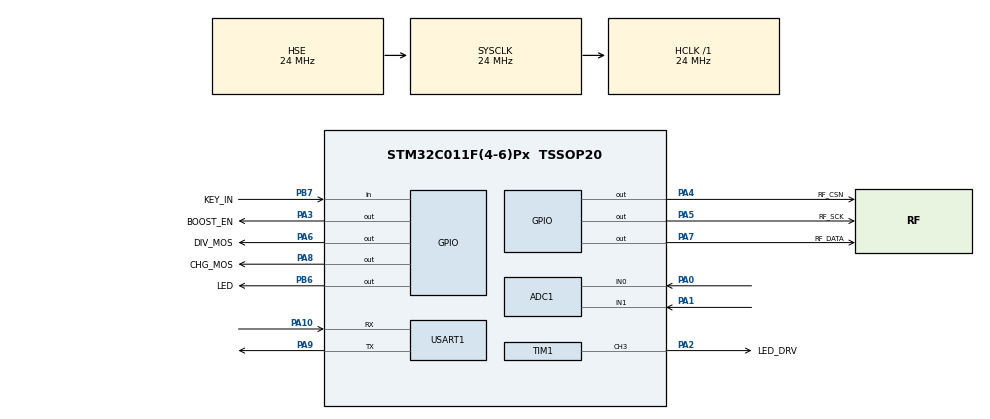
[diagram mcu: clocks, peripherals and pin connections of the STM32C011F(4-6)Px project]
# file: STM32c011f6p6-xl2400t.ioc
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ADC1.NbrOfConversionFlag=0
ADC1.SamplingTimeCommon1=ADC_SAMPLETIME_160CYCLES_5
ADC1.SelectedChannel=ADC_CHANNEL_0|ADC_CHANNEL_1
ADC1.master=1
Mcu.Family=STM32C0
Mcu.Name=STM32C011F(4-6)Px
Mcu.Package=TSSOP20
NVIC.RTC_IRQn=true\:0\:0\:false\:false\:true\:true\:true\:true
PA0.Mode=IN0
PA0.Signal=ADC1_IN0
PA1.Mode=IN1
PA1.Signal=ADC1_IN1
PA10\ [PA12].Mode=Asynchronous
PA10\ [PA12].Signal=USART1_RX
PA13.Mode=Serial_Wire
PA13.Signal=DEBUG_SWDIO
PA14-BOOT0.Mode=Serial_Wire
PA14-BOOT0.Signal=DEBUG_SWCLK
PA2.GPIO_Label=LED_DRV
PA2.Signal=S_TIM1_CH3
PA3.GPIO_Label=BOOST_EN
PA3.Signal=GPIO_Output
PA4.GPIO_Label=RF_CSN
PA4.Signal=GPIO_Output
PA5.GPIO_Label=RF_SCK
PA5.Signal=GPIO_Output
PA6.GPIO_Label=DIV_MOS
PA6.Signal=GPIO_Output
PA7.GPIO_Label=RF_DATA
PA7.Signal=GPIO_Output
PA8.GPIO_Label=CHG_MOS
PA8.Signal=GPIO_Output
PA9\ [PA11].Mode=Asynchronous
PA9\ [PA11].Signal=USART1_TX
PB6.GPIO_Label=LED
PB6.Signal=GPIO_Output
PB7.GPIO_Label=KEY_IN
PB7.GPIO_PuPd=GPIO_PULLUP
PB7.Signal=GPIO_Input
PC14-OSCX_IN\ (PC14).Mode=HSE-External-Oscillator-REMAPPED
PC14-OSCX_IN\ (PC14).Signal=RCC_OSCX_IN
PC15-OSCX_OUT\ (PC15).Mode=HSE-External-Oscillator-REMAPPED
PC15-OSCX_OUT\ (PC15).Signal=RCC_OSCX_OUT
ProjectManager.HeapSize=0x200
ProjectManager.StackSize=0x400
ProjectManager.TargetToolchain=MDK-ARM V5
RCC.ADCCLockSelection=RCC_ADCCLKSOURCE_HSIKER
RCC.ADCFreq_Value=12000000
RCC.AHBFreq_Value=24000000
RCC.CortexFreq_Value=24000000
RCC.EXTERNAL_CLOCK_VALUE=12288000
RCC.HCLKFreq_Value=24000000
RCC.HSE_VALUE=24000000
RCC.HSIKERCLKDivider=RCC_HSIKER_DIV4
RCC.HSI_VALUE=48000000
RCC.LSE_VALUE=32768
RCC.SYSCLKFreq_VALUE=24000000
RCC.SYSCLKSource=RCC_SYSCLKSOURCE_HSE
RTC.Alarm-Alarm\ A=RTC_ALARM_A
RTC.AlarmMaskDateWeekDay-Alarm\ A=RTC_ALARMMASK_DATEWEEKDAY
RTC.AlarmMaskHours-Alarm\ A=RTC_ALARMMASK_HOURS
RTC.AlarmMaskMinutes-Alarm\ A=RTC_ALARMMASK_MINUTES
RTC.Seconds=3
RTC.Seconds_A-Alarm\ A=3
SH.S_TIM1_CH3.0=TIM1_CH3,PWM Generation3 CH3
TIM1.AutoReloadPreload=TIM_AUTORELOAD_PRELOAD_ENABLE
TIM1.Channel-PWM\ Generation3\ CH3=TIM_CHANNEL_3
TIM1.OCFastMode_PWM-PWM\ Generation3\ CH3=TIM_OCFAST_ENABLE
TIM1.Period=192
TIM1.Pulse-PWM\ Generation3\ CH3=115
USART1.VirtualMode-Asynchronous=VM_ASYNC
VP_RTC_VS_RTC_Activate.Mode=RTC_Enabled
VP_RTC_VS_RTC_Alarm_A_Intern.Mode=Alarm A
VP_RTC_VS_RTC_Calendar.Mode=RTC_Calendar
VP_SYS_VS_PINREMAP.Mode=PINREMAP
VP_SYS_VS_PINREMAP_10_12.Mode=PINREMAP_10_12
board=custom

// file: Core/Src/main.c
/* USER CODE BEGIN Header */
/**
  ******************************************************************************
  * @file           : main.c
  * @brief          : Main program body
  ******************************************************************************
  * @attention
  *
  * Copyright (c) 2026 STMicroelectronics.
  * All rights reserved.
  *
  * This software is licensed under terms that can be found in the LICENSE file
  * in the root directory of this software component.
  * If no LICENSE file comes with this software, it is provided AS-IS.
  *
  ******************************************************************************
  */
/* USER CODE END Header */
#include "main.h"

ADC_HandleTypeDef hadc1;

RTC_HandleTypeDef hrtc;

TIM_HandleTypeDef htim1;

UART_HandleTypeDef huart1;

void SystemClock_Config(void);
void PeriphCommonClock_Config(void);
static void MX_GPIO_Init(void);
static void MX_ADC1_Init(void);
static void MX_TIM1_Init(void);
static void MX_USART1_UART_Init(void);
static void MX_RTC_Init(void);

/* USER CODE BEGIN 0 */
/* 固件调试串口打印：所有文本均通过 USART1 输出 */
static void UART_Print(const char *s)
{
  uint32_t len = 0U;
  const char *p = s;
  while (p != 0 && *p != '\0')
  {
    len++;
    p++;
  }

  if (len > 0U)
  {
    (void)HAL_UART_Transmit(&huart1, (uint8_t *)s, (uint16_t)len, 100U);
  }
}

void DebugPrint(const char *s)
{
#if (ENABLE_UART_DEBUG == 1)
  UART_Print(s);
#else
  (void)s;
#endif
}

/* RTC 闹钟触发计数器：由 RTC 中断回调递增，主循环在唤醒/处理时逐个消费
 * 说明：使用计数器避免“采样/串口输出期间闹钟又触发，但被主循环清零丢失”的问题。
 */
static volatile uint32_t g_rtc_wakeup_cnt = 0U;

/**
  * @brief RTC Alarm A 回调函数
  * @note 只做唤醒标志置位，避免在中断上下文里做复杂 HAL 操作
  */
void HAL_RTC_AlarmAEventCallback(RTC_HandleTypeDef *hrtc)
{
  UNUSED(hrtc);
  g_rtc_wakeup_cnt++;
}

/* 前置声明：RTC 设置函数里会先调用 DebugPrintU32，避免隐式声明导致 static 冲突 */
static void DebugPrintU32(uint32_t v);

/**
  * @brief  重新设置 RTC Alarm A：下一次触发秒 = 当前秒 + 3
  * @note   该函数在主循环上下文执行（非中断），避免 HAL_GetTick 相关超时风险
  */
static HAL_StatusTypeDef RTC_SetNextAlarmA_3s(RTC_HandleTypeDef *hrtc)
{
  RTC_TimeTypeDef rtcTime = {0};
  RTC_DateTypeDef rtcDate = {0};
  RTC_AlarmTypeDef sAlarm = {0};
  uint8_t currSec = 0U;
  uint8_t nextSec = 0U;
  uint8_t newSec = 0U;

  /* 从低功耗/唤醒环境读取 RTC 时必须同步，且读取时间后要读取日期解锁影子寄存器 */
  if (HAL_RTC_WaitForSynchro(hrtc) != HAL_OK)
  {
    return HAL_ERROR;
  }

  if (HAL_RTC_GetTime(hrtc, &rtcTime, RTC_FORMAT_BIN) != HAL_OK)
  {
    return HAL_ERROR;
  }
  (void)HAL_RTC_GetDate(hrtc, &rtcDate, RTC_FORMAT_BIN);

  currSec = rtcTime.Seconds;

  /* 等到 seconds 刷新（避免刚好错过目标秒窗口） */
  newSec = currSec;
  {
    uint32_t tickStart = HAL_GetTick();
    while ((newSec == currSec) && ((HAL_GetTick() - tickStart) < 200U))
    {
      if (HAL_RTC_GetTime(hrtc, &rtcTime, RTC_FORMAT_BIN) != HAL_OK)
      {
        break;
      }
      (void)HAL_RTC_GetDate(hrtc, &rtcDate, RTC_FORMAT_BIN);
      newSec = rtcTime.Seconds;
    }
  }

  sAlarm.Alarm = RTC_ALARM_A;
  sAlarm.AlarmTime.Hours = 0U;
  sAlarm.AlarmTime.Minutes = 0U;
  nextSec = (uint8_t)((newSec + 3U) % 60U);
  sAlarm.AlarmTime.Seconds = nextSec;
  sAlarm.AlarmTime.SubSeconds = 0U;
  sAlarm.AlarmTime.DayLightSaving = RTC_DAYLIGHTSAVING_NONE;
  sAlarm.AlarmTime.StoreOperation = RTC_STOREOPERATION_RESET;

  /* 只匹配 Seconds：屏蔽 Date/WeekDay、Hours、Minutes */
  sAlarm.AlarmMask = RTC_ALARMMASK_DATEWEEKDAY | RTC_ALARMMASK_HOURS | RTC_ALARMMASK_MINUTES;
  sAlarm.AlarmSubSecondMask = RTC_ALARMSUBSECONDMASK_ALL;

  sAlarm.AlarmDateWeekDaySel = RTC_ALARMDATEWEEKDAYSEL_DATE;
  sAlarm.AlarmDateWeekDay = 0x1U;

  /* 调试输出：便于确认 seconds 对齐是否正确 */
#if (ENABLE_UART_DEBUG == 1)
  DebugPrint("\r\n[RTC] currSec=");
  DebugPrintU32((uint32_t)currSec);
  DebugPrint(" nextSec=");
  DebugPrintU32((uint32_t)nextSec);
  DebugPrint("\r\n");
#endif

  return HAL_RTC_SetAlarm_IT(hrtc, &sAlarm, RTC_FORMAT_BIN);
}

/* 打印无符号十进制数到 UART（不依赖 printf，便于控制代码体积） */
static void UART_PrintU32(uint32_t v)
{
  char buf[11];
  uint32_t len = 0U;

  if (v == 0U)
  {
    buf[len++] = '0';
  }
  else
  {
    while (v > 0U && len < (sizeof(buf) - 1U))
    {
      buf[len++] = (char)('0' + (v % 10U));
      v /= 10U;
    }
  }

  /* 反向输出数字 */
  while (len > 0U)
  {
    uint8_t ch = (uint8_t)buf[len - 1U];
    (void)HAL_UART_Transmit(&huart1, &ch, 1U, 100U);
    len--;
  }
}

static void DebugPrintU32(uint32_t v)
{
#if (ENABLE_UART_DEBUG == 1)
  UART_PrintU32(v);
#else
  (void)v;
#endif
}

/**
  * @brief 采样 PA0/PA1：每次触发扫描序列，读取通道0/通道1各1次
  *        重复16次后对每个通道求平均。
  */
static void ADC_ReadAvgPa0Pa1_16x(uint16_t *avgPa0, uint16_t *avgPa1)
{
  uint32_t sum0 = 0U;
  uint32_t sum1 = 0U;
  uint32_t i = 0U;

  for (i = 0U; i < 16U; i++)
  {
    if (HAL_ADC_Start(&hadc1) != HAL_OK)
    {
      Error_Handler();
    }

    /* 第一次 EOC：PA0(ADC1_IN0) */
    if (HAL_ADC_PollForConversion(&hadc1, 10U) != HAL_OK)
    {
      Error_Handler();
    }
    uint16_t v0 = (uint16_t)HAL_ADC_GetValue(&hadc1);

    /* 第二次 EOC：PA1(ADC1_IN1) */
    if (HAL_ADC_PollForConversion(&hadc1, 10U) != HAL_OK)
    {
      Error_Handler();
    }
    uint16_t v1 = (uint16_t)HAL_ADC_GetValue(&hadc1);

    (void)HAL_ADC_Stop(&hadc1);

    sum0 += (uint32_t)v0;
    sum1 += (uint32_t)v1;
  }

  *avgPa0 = (uint16_t)(sum0 / 16U);
  *avgPa1 = (uint16_t)(sum1 / 16U);
}

/**
  * @brief 进入 STOP 前的功耗处理
  * @note 低风险策略：本测试中保留 CubeMX 的 RF/控制脚默认状态；仅对 ADC/USART 做去初始化与模拟模式配置。
  */
static void Power_PrepareForStop(void)
{
  GPIO_InitTypeDef GPIO_InitStruct = {0};

  /* 关闭 ADC 外设以降低功耗（PA0/PA1 重新置为 Analog 防止悬空漏电） */
  (void)HAL_ADC_Stop(&hadc1);
  (void)HAL_ADC_DeInit(&hadc1);
  GPIO_InitStruct.Pin = (GPIO_PIN_0 | GPIO_PIN_1);
  GPIO_InitStruct.Mode = GPIO_MODE_ANALOG;
  GPIO_InitStruct.Pull = GPIO_NOPULL;
  HAL_GPIO_Init(GPIOA, &GPIO_InitStruct);

#if (ENABLE_UART_DEBUG == 0)
  /* 调试关闭时：关闭 USART1 并把 TX/RX 引脚置为 Analog 进一步降低漏电 */
  (void)HAL_UART_DeInit(&huart1);
  __HAL_RCC_USART1_CLK_DISABLE();
  GPIO_InitStruct.Pin = (GPIO_PIN_9 | GPIO_PIN_10);
  GPIO_InitStruct.Mode = GPIO_MODE_ANALOG;
  GPIO_InitStruct.Pull = GPIO_NOPULL;
  HAL_GPIO_Init(GPIOA, &GPIO_InitStruct);
#endif
}

/* USER CODE END 0 */

int main(void)
{

  /* MCU Configuration--------------------------------------------------------*/

  /* Reset of all peripherals, Initializes the Flash interface and the Systick. */
  HAL_Init();

  /* Configure the system clock */
  SystemClock_Config();

  /* Configure the peripherals common clocks */
  PeriphCommonClock_Config();

  /* Initialize all configured peripherals */
  MX_GPIO_Init();
  MX_ADC1_Init();
  MX_TIM1_Init();
  MX_USART1_UART_Init();
  MX_RTC_Init();
  /* USER CODE BEGIN 2 */
  /* 上电打印固件版本号：用于区分当前烧录的测试固件 */
  UART_Print("\r\n[FW] " FW_VERSION "\r\n");

  /* 使能 STOP 模式下的 Debug：避免出现你说的 SWD/RJTAG 锁死、无法下载 */
  HAL_DBGMCU_EnableDBGStopMode();
  /* USER CODE END 2 */

  /* Infinite loop */
  /* USER CODE BEGIN WHILE */
  while (1)
  {
    /* 如果没有待处理的 RTC 唤醒事件，才进入 STOP */
    if (g_rtc_wakeup_cnt == 0U)
    {
      DebugPrint("\r\n[LP-IN]\r\n");

      /* 进入 STOP 之前进行功耗准备（关闭 ADC/可选关闭 UART） */
      Power_PrepareForStop();

      /* 进入 STOP 前暂停 SysTick，避免 Tick 在低功耗状态下异常 */
      HAL_SuspendTick();

      /* 等待中断：由 RTC Alarm A 唤醒 */
      #if (LOWPOWER_USE_STOP == 1)
      HAL_PWR_EnterSTOPMode(PWR_MAINREGULATOR_ON, PWR_STOPENTRY_WFI);
      /* 唤醒后恢复时钟树与 SysTick（STOP 需要） */
      SystemClock_Config();
      PeriphCommonClock_Config();
      DebugPrint("\r\n[LP-RET-STOP]\r\n");
      #else
      HAL_PWR_EnterSLEEPMode(PWR_MAINREGULATOR_ON, PWR_SLEEPENTRY_WFI);
      DebugPrint("\r\n[LP-RET-SLEEP]\r\n");
      #endif
      HAL_ResumeTick();

      /* 从低功耗返回后打印（用于确认唤醒是否发生、计数是否递增） */
      DebugPrint("\r\n[LP-RET] cnt=");
      DebugPrintU32(g_rtc_wakeup_cnt);
      DebugPrint("\r\n");
    }

    /* 消费可能累积的唤醒事件（避免丢事件导致周期变成约 60s） */
    while (g_rtc_wakeup_cnt > 0U)
    {
      g_rtc_wakeup_cnt--;

      /* 重设下一次闹钟：当前秒 + 3s */
      if (RTC_SetNextAlarmA_3s(&hrtc) == HAL_OK)
      {
        /* 最小验证输出：确认唤醒链路通，并维持下一次 3s 周期 */
        DebugPrint("\r\n[WAKE+RTC]\r\n");
      }

      /* 唤醒后执行 ADC 采样与电压换算 */
      uint16_t adc0_avg = 0U;
      uint16_t adc1_avg = 0U;

      /* 每次事件处理都重新初始化 ADC，确保在 STOP 前去初始化后恢复正常 */
      MX_ADC1_Init();
      ADC_ReadAvgPa0Pa1_16x(&adc0_avg, &adc1_avg);

      /* V(mV) = adc_avg * 3300 / 4095（Vref=3.3V，12bit） */
      uint32_t v0_mV = (uint32_t)(((uint64_t)adc0_avg * 3300ULL) / 4095ULL);
      uint32_t v1_mV = (uint32_t)(((uint64_t)adc1_avg * 3300ULL) / 4095ULL);

      DebugPrint("\r\n[ADC]");
      DebugPrint(" PA0=");
      DebugPrintU32(v0_mV);
      DebugPrint("mV");
      DebugPrint(" PA1=");
      DebugPrintU32(v1_mV);
      DebugPrint("mV\r\n");
    }
    /* USER CODE END WHILE */

  }
}

void SystemClock_Config(void)
{
  RCC_OscInitTypeDef RCC_OscInitStruct = {0};
  RCC_ClkInitTypeDef RCC_ClkInitStruct = {0};

  __HAL_FLASH_SET_LATENCY(FLASH_LATENCY_0);

  /** Initializes the RCC Oscillators according to the specified parameters
  * in the RCC_OscInitTypeDef structure.
  */
  RCC_OscInitStruct.OscillatorType = RCC_OSCILLATORTYPE_HSI|RCC_OSCILLATORTYPE_LSI
                              |RCC_OSCILLATORTYPE_HSE;
  RCC_OscInitStruct.HSEState = RCC_HSE_ON;
  RCC_OscInitStruct.HSIState = RCC_HSI_ON;
  RCC_OscInitStruct.HSIDiv = RCC_HSI_DIV4;
  RCC_OscInitStruct.HSICalibrationValue = RCC_HSICALIBRATION_DEFAULT;
  RCC_OscInitStruct.LSIState = RCC_LSI_ON;
  if (HAL_RCC_OscConfig(&RCC_OscInitStruct) != HAL_OK)
  {
    Error_Handler();
  }

  /** Initializes the CPU, AHB and APB buses clocks
  */
  RCC_ClkInitStruct.ClockType = RCC_CLOCKTYPE_HCLK|RCC_CLOCKTYPE_SYSCLK
                              |RCC_CLOCKTYPE_PCLK1;
  RCC_ClkInitStruct.SYSCLKSource = RCC_SYSCLKSOURCE_HSE;
  RCC_ClkInitStruct.SYSCLKDivider = RCC_SYSCLK_DIV1;
  RCC_ClkInitStruct.AHBCLKDivider = RCC_HCLK_DIV1;
  RCC_ClkInitStruct.APB1CLKDivider = RCC_APB1_DIV1;

  if (HAL_RCC_ClockConfig(&RCC_ClkInitStruct, FLASH_LATENCY_0) != HAL_OK)
  {
    Error_Handler();
  }
}

void PeriphCommonClock_Config(void)
{
  RCC_PeriphCLKInitTypeDef PeriphClkInit = {0};

  /** Initializes the common peripherals clocks
  */
  PeriphClkInit.PeriphClockSelection = RCC_PERIPHCLK_HSIKER;
  PeriphClkInit.HSIKerClockDivider = RCC_HSIKER_DIV4;

  if (HAL_RCCEx_PeriphCLKConfig(&PeriphClkInit) != HAL_OK)
  {
    Error_Handler();
  }
}

static void MX_ADC1_Init(void)
{

  ADC_ChannelConfTypeDef sConfig = {0};

  /** Configure the global features of the ADC (Clock, Resolution, Data Alignment and number of conversion)
  */
  hadc1.Instance = ADC1;
  hadc1.Init.ClockPrescaler = ADC_CLOCK_SYNC_PCLK_DIV1;
  hadc1.Init.Resolution = ADC_RESOLUTION_12B;
  hadc1.Init.DataAlign = ADC_DATAALIGN_RIGHT;
  hadc1.Init.ScanConvMode = ADC_SCAN_SEQ_FIXED;
  hadc1.Init.EOCSelection = ADC_EOC_SINGLE_CONV;
  hadc1.Init.LowPowerAutoWait = DISABLE;
  hadc1.Init.LowPowerAutoPowerOff = DISABLE;
  hadc1.Init.ContinuousConvMode = DISABLE;
  hadc1.Init.NbrOfConversion = 2;
  hadc1.Init.DiscontinuousConvMode = DISABLE;
  hadc1.Init.ExternalTrigConv = ADC_SOFTWARE_START;
  hadc1.Init.ExternalTrigConvEdge = ADC_EXTERNALTRIGCONVEDGE_NONE;
  hadc1.Init.DMAContinuousRequests = DISABLE;
  hadc1.Init.Overrun = ADC_OVR_DATA_PRESERVED;
  hadc1.Init.SamplingTimeCommon1 = ADC_SAMPLETIME_160CYCLES_5;
  hadc1.Init.OversamplingMode = DISABLE;
  hadc1.Init.TriggerFrequencyMode = ADC_TRIGGER_FREQ_HIGH;
  if (HAL_ADC_Init(&hadc1) != HAL_OK)
  {
    Error_Handler();
  }

  /** Configure Regular Channel
  */
  sConfig.Channel = ADC_CHANNEL_0;
  sConfig.Rank = ADC_RANK_CHANNEL_NUMBER;
  if (HAL_ADC_ConfigChannel(&hadc1, &sConfig) != HAL_OK)
  {
    Error_Handler();
  }

  /** Configure Regular Channel
  */
  sConfig.Channel = ADC_CHANNEL_1;
  sConfig.Rank = ADC_REGULAR_RANK_2;
  if (HAL_ADC_ConfigChannel(&hadc1, &sConfig) != HAL_OK)
  {
    Error_Handler();
  }

}

static void MX_RTC_Init(void)
{

  RTC_TimeTypeDef sTime = {0};
  RTC_DateTypeDef sDate = {0};
  RTC_AlarmTypeDef sAlarm = {0};

  /** Initialize RTC Only
  */
  hrtc.Instance = RTC;
  hrtc.Init.HourFormat = RTC_HOURFORMAT_24;
  hrtc.Init.AsynchPrediv = 127;
  hrtc.Init.SynchPrediv = 255;
  hrtc.Init.OutPut = RTC_OUTPUT_DISABLE;
  hrtc.Init.OutPutRemap = RTC_OUTPUT_REMAP_NONE;
  hrtc.Init.OutPutPolarity = RTC_OUTPUT_POLARITY_HIGH;
  hrtc.Init.OutPutType = RTC_OUTPUT_TYPE_OPENDRAIN;
  hrtc.Init.OutPutPullUp = RTC_OUTPUT_PULLUP_NONE;
  if (HAL_RTC_Init(&hrtc) != HAL_OK)
  {
    Error_Handler();
  }

  /** Initialize RTC and set the Time and Date
  */
  sTime.Hours = 0x0;
  sTime.Minutes = 0x0;
  /* 让第一次 RTC Alarm A 尽快触发：当前 seconds=0，Alarm A seconds=3 */
  sTime.Seconds = 0x0;
  sTime.SubSeconds = 0x0;
  sTime.DayLightSaving = RTC_DAYLIGHTSAVING_NONE;
  sTime.StoreOperation = RTC_STOREOPERATION_RESET;
  if (HAL_RTC_SetTime(&hrtc, &sTime, RTC_FORMAT_BCD) != HAL_OK)
  {
    Error_Handler();
  }
  sDate.WeekDay = RTC_WEEKDAY_MONDAY;
  sDate.Month = RTC_MONTH_JANUARY;
  sDate.Date = 0x1;
  sDate.Year = 0x0;

  if (HAL_RTC_SetDate(&hrtc, &sDate, RTC_FORMAT_BCD) != HAL_OK)
  {
    Error_Handler();
  }

  /** Enable the Alarm A
  */
  sAlarm.AlarmTime.Hours = 0x0;
  sAlarm.AlarmTime.Minutes = 0x0;
  sAlarm.AlarmTime.Seconds = 0x3;
  sAlarm.AlarmTime.SubSeconds = 0x0;
  sAlarm.AlarmTime.DayLightSaving = RTC_DAYLIGHTSAVING_NONE;
  sAlarm.AlarmTime.StoreOperation = RTC_STOREOPERATION_RESET;
  sAlarm.AlarmMask = RTC_ALARMMASK_DATEWEEKDAY|RTC_ALARMMASK_HOURS
                              |RTC_ALARMMASK_MINUTES;
  sAlarm.AlarmSubSecondMask = RTC_ALARMSUBSECONDMASK_ALL;
  sAlarm.AlarmDateWeekDaySel = RTC_ALARMDATEWEEKDAYSEL_DATE;
  sAlarm.AlarmDateWeekDay = 0x1;
  sAlarm.Alarm = RTC_ALARM_A;
  if (HAL_RTC_SetAlarm_IT(&hrtc, &sAlarm, RTC_FORMAT_BCD) != HAL_OK)
  {
    Error_Handler();
  }

}

static void MX_TIM1_Init(void)
{

  TIM_MasterConfigTypeDef sMasterConfig = {0};
  TIM_OC_InitTypeDef sConfigOC = {0};
  TIM_BreakDeadTimeConfigTypeDef sBreakDeadTimeConfig = {0};

  htim1.Instance = TIM1;
  htim1.Init.Prescaler = 0;
  htim1.Init.CounterMode = TIM_COUNTERMODE_UP;
  htim1.Init.Period = 192;
  htim1.Init.ClockDivision = TIM_CLOCKDIVISION_DIV1;
  htim1.Init.RepetitionCounter = 0;
  htim1.Init.AutoReloadPreload = TIM_AUTORELOAD_PRELOAD_ENABLE;
  if (HAL_TIM_PWM_Init(&htim1) != HAL_OK)
  {
    Error_Handler();
  }
  sMasterConfig.MasterOutputTrigger = TIM_TRGO_RESET;
  sMasterConfig.MasterOutputTrigger2 = TIM_TRGO2_RESET;
  sMasterConfig.MasterSlaveMode = TIM_MASTERSLAVEMODE_DISABLE;
  if (HAL_TIMEx_MasterConfigSynchronization(&htim1, &sMasterConfig) != HAL_OK)
  {
    Error_Handler();
  }
  sConfigOC.OCMode = TIM_OCMODE_PWM1;
  sConfigOC.Pulse = 115;
  sConfigOC.OCPolarity = TIM_OCPOLARITY_HIGH;
  sConfigOC.OCNPolarity = TIM_OCNPOLARITY_HIGH;
  sConfigOC.OCFastMode = TIM_OCFAST_ENABLE;
  sConfigOC.OCIdleState = TIM_OCIDLESTATE_RESET;
  sConfigOC.OCNIdleState = TIM_OCNIDLESTATE_RESET;
  if (HAL_TIM_PWM_ConfigChannel(&htim1, &sConfigOC, TIM_CHANNEL_3) != HAL_OK)
  {
    Error_Handler();
  }
  sBreakDeadTimeConfig.OffStateRunMode = TIM_OSSR_DISABLE;
  sBreakDeadTimeConfig.OffStateIDLEMode = TIM_OSSI_DISABLE;
  sBreakDeadTimeConfig.LockLevel = TIM_LOCKLEVEL_OFF;
  sBreakDeadTimeConfig.DeadTime = 0;
  sBreakDeadTimeConfig.BreakState = TIM_BREAK_DISABLE;
  sBreakDeadTimeConfig.BreakPolarity = TIM_BREAKPOLARITY_HIGH;
  sBreakDeadTimeConfig.BreakFilter = 0;
  sBreakDeadTimeConfig.BreakAFMode = TIM_BREAK_AFMODE_INPUT;
  sBreakDeadTimeConfig.Break2State = TIM_BREAK2_DISABLE;
  sBreakDeadTimeConfig.Break2Polarity = TIM_BREAK2POLARITY_HIGH;
  sBreakDeadTimeConfig.Break2Filter = 0;
  sBreakDeadTimeConfig.Break2AFMode = TIM_BREAK_AFMODE_INPUT;
  sBreakDeadTimeConfig.AutomaticOutput = TIM_AUTOMATICOUTPUT_DISABLE;
  if (HAL_TIMEx_ConfigBreakDeadTime(&htim1, &sBreakDeadTimeConfig) != HAL_OK)
  {
    Error_Handler();
  }
  HAL_TIM_MspPostInit(&htim1);

}

static void MX_USART1_UART_Init(void)
{

  huart1.Instance = USART1;
  huart1.Init.BaudRate = 115200;
  huart1.Init.WordLength = UART_WORDLENGTH_8B;
  huart1.Init.StopBits = UART_STOPBITS_1;
  huart1.Init.Parity = UART_PARITY_NONE;
  huart1.Init.Mode = UART_MODE_TX_RX;
  huart1.Init.HwFlowCtl = UART_HWCONTROL_NONE;
  huart1.Init.OverSampling = UART_OVERSAMPLING_16;
  huart1.Init.OneBitSampling = UART_ONE_BIT_SAMPLE_DISABLE;
  huart1.Init.ClockPrescaler = UART_PRESCALER_DIV1;
  huart1.AdvancedInit.AdvFeatureInit = UART_ADVFEATURE_NO_INIT;
  if (HAL_UART_Init(&huart1) != HAL_OK)
  {
    Error_Handler();
  }
  if (HAL_UARTEx_SetTxFifoThreshold(&huart1, UART_TXFIFO_THRESHOLD_1_8) != HAL_OK)
  {
    Error_Handler();
  }
  if (HAL_UARTEx_SetRxFifoThreshold(&huart1, UART_RXFIFO_THRESHOLD_1_8) != HAL_OK)
  {
    Error_Handler();
  }
  if (HAL_UARTEx_DisableFifoMode(&huart1) != HAL_OK)
  {
    Error_Handler();
  }

}

static void MX_GPIO_Init(void)
{
  GPIO_InitTypeDef GPIO_InitStruct = {0};

  /* GPIO Ports Clock Enable */
  __HAL_RCC_GPIOB_CLK_ENABLE();
  __HAL_RCC_GPIOC_CLK_ENABLE();
  __HAL_RCC_GPIOA_CLK_ENABLE();

  /*Configure GPIO pin Output Level */
  HAL_GPIO_WritePin(GPIOA, BOOST_EN_Pin|RF_CSN_Pin|RF_SCK_Pin|DIV_MOS_Pin
                          |RF_DATA_Pin|CHG_MOS_Pin, GPIO_PIN_RESET);

  /*Configure GPIO pin Output Level */
  HAL_GPIO_WritePin(LED_GPIO_Port, LED_Pin, GPIO_PIN_RESET);

  /*Configure GPIO pin : KEY_IN_Pin */
  GPIO_InitStruct.Pin = KEY_IN_Pin;
  GPIO_InitStruct.Mode = GPIO_MODE_INPUT;
  GPIO_InitStruct.Pull = GPIO_PULLUP;
  HAL_GPIO_Init(KEY_IN_GPIO_Port, &GPIO_InitStruct);

  /*Configure GPIO pins : BOOST_EN_Pin RF_CSN_Pin RF_SCK_Pin DIV_MOS_Pin
                           RF_DATA_Pin CHG_MOS_Pin */
  GPIO_InitStruct.Pin = BOOST_EN_Pin|RF_CSN_Pin|RF_SCK_Pin|DIV_MOS_Pin
                          |RF_DATA_Pin|CHG_MOS_Pin;
  GPIO_InitStruct.Mode = GPIO_MODE_OUTPUT_PP;
  GPIO_InitStruct.Pull = GPIO_NOPULL;
  GPIO_InitStruct.Speed = GPIO_SPEED_FREQ_LOW;
  HAL_GPIO_Init(GPIOA, &GPIO_InitStruct);

  /*Configure GPIO pin : LED_Pin */
  GPIO_InitStruct.Pin = LED_Pin;
  GPIO_InitStruct.Mode = GPIO_MODE_OUTPUT_PP;
  GPIO_InitStruct.Pull = GPIO_NOPULL;
  GPIO_InitStruct.Speed = GPIO_SPEED_FREQ_LOW;
  HAL_GPIO_Init(LED_GPIO_Port, &GPIO_InitStruct);

}

void Error_Handler(void)
{
  __disable_irq();
  while (1)
  {
  }
}
